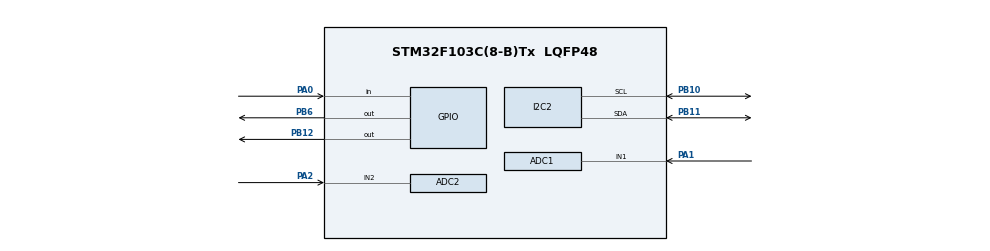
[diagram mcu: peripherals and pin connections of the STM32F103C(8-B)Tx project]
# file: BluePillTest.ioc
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ADC1.Channel-0\#ChannelRegularConversion=ADC_CHANNEL_1
ADC1.NbrOfConversionFlag=1
ADC1.Rank-0\#ChannelRegularConversion=1
ADC1.SamplingTime-0\#ChannelRegularConversion=ADC_SAMPLETIME_239CYCLES_5
ADC1.master=1
ADC2.Channel-3\#ChannelRegularConversion=ADC_CHANNEL_2
ADC2.NbrOfConversion=1
ADC2.NbrOfConversionFlag=1
ADC2.Rank-3\#ChannelRegularConversion=1
ADC2.SamplingTime-3\#ChannelRegularConversion=ADC_SAMPLETIME_239CYCLES_5
Mcu.Family=STM32F1
Mcu.Name=STM32F103C(8-B)Tx
Mcu.Package=LQFP48
NVIC.PriorityGroup=NVIC_PRIORITYGROUP_4
PA0-WKUP.GPIO_PuPd=GPIO_PULLUP
PA0-WKUP.Signal=GPIO_Input
PA1.Signal=ADCx_IN1
PA2.Signal=ADCx_IN2
PB10.Mode=I2C
PB10.Signal=I2C2_SCL
PB11.Mode=I2C
PB11.Signal=I2C2_SDA
PB12.GPIO_ModeDefaultOutputPP=GPIO_MODE_OUTPUT_OD
PB12.GPIO_PuPd=GPIO_NOPULL
PB12.GPIO_Speed=GPIO_SPEED_FREQ_HIGH
PB12.PinState=GPIO_PIN_SET
PB12.Signal=GPIO_Output
PB6.Signal=GPIO_Output
ProjectManager.HeapSize=0x200
ProjectManager.StackSize=0x400
ProjectManager.TargetToolchain=STM32CubeIDE
RCC.APB1Freq_Value=8000000
RCC.APB2Freq_Value=8000000
SH.ADCx_IN1.0=ADC1_IN1,IN1
SH.ADCx_IN2.0=ADC2_IN2,IN2
VP_SYS_VS_ND.Mode=No_Debug
board=custom

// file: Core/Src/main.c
/* USER CODE BEGIN Header */
/**
  ******************************************************************************
  * @file           : main.c
  * @brief          : Main program body
  ******************************************************************************
  * @attention
  *
  * Copyright (c) 2026 STMicroelectronics.
  * All rights reserved.
  *
  * This software is licensed under terms that can be found in the LICENSE file
  * in the root directory of this software component.
  * If no LICENSE file comes with this software, it is provided AS-IS.
  *
  ******************************************************************************
  */
/* USER CODE END Header */
#include "main.h"

/* USER CODE BEGIN Includes */
#include "lcd_i2c.h"
#include <stdio.h>
#include <stdlib.h>
/* USER CODE END Includes */

/* USER CODE BEGIN PD */
#define DS18B20_PIN  GPIO_PIN_12
#define DS18B20_PORT GPIOB
/* USER CODE END PD */

ADC_HandleTypeDef hadc1;
ADC_HandleTypeDef hadc2;

I2C_HandleTypeDef hi2c2;

void SystemClock_Config(void);
static void MX_GPIO_Init(void);
static void MX_I2C2_Init(void);
static void MX_ADC1_Init(void);
static void MX_ADC2_Init(void);
/* USER CODE BEGIN PFP */
void delay_us(uint16_t us);
/* USER CODE END PFP */

/* USER CODE BEGIN 0 */
float adc2_voltage = 0;
float input_voltage = 0;
uint8_t temp_conversion_pending = 0;
uint32_t temp_start_tick = 0;
GPIO_PinState lastButtonState = GPIO_PIN_SET;
GPIO_PinState currentButtonState;

uint32_t lastTempTick = 0;
float temperature = 0;
static void DS18B20_ForceLow(void);
static void DS18B20_ReleaseBus(void);

static inline uint8_t DS18B20_ReadPin(void)
{
    return HAL_GPIO_ReadPin(GPIOB, GPIO_PIN_12);
}

static void DS18B20_WriteBit(uint8_t bit)
{
    __disable_irq(); // Prevent SysTick from interrupting timing
    DS18B20_ForceLow();

    if (bit)
    {
        delay_us(6);
        DS18B20_ReleaseBus();
        delay_us(64);
    }
    else
    {
        delay_us(60);
        DS18B20_ReleaseBus();
        delay_us(10);
    }
    __enable_irq(); // Re-enable interrupts immediately after
}

static uint8_t DS18B20_ReadBit(void)
{
    uint8_t bit;

    __disable_irq(); // Lock the timing window
    DS18B20_ForceLow();
    delay_us(3);

    DS18B20_ReleaseBus();
    delay_us(10); // The sensor holds the data here

    bit = HAL_GPIO_ReadPin(GPIOB, GPIO_PIN_12);
    __enable_irq(); // Release the lock

    delay_us(50);
    return bit;
}

static uint8_t DS18B20_Reset(void)
{
    DS18B20_ForceLow();
    delay_us(480);

    DS18B20_ReleaseBus();
    delay_us(80);

    uint8_t presence = HAL_GPIO_ReadPin(GPIOB, GPIO_PIN_12);

    delay_us(400);

    return (presence == GPIO_PIN_RESET) ? 0 : 1; // 0 = OK, 1 = FAIL
}

static void DS18B20_WriteByte(uint8_t data)
{
    for (int i = 0; i < 8; i++)
    {
        DS18B20_WriteBit(data & (1 << i));
    }
}

static uint8_t DS18B20_ReadByte(void)
{
    uint8_t value = 0;
    for (int i = 0; i < 8; i++)
    {
        if (DS18B20_ReadBit())
            value |= (1 << i);
    }
    return value;
}

static inline void DS18B20_ForceLow(void)
{
    GPIOB->ODR &= ~GPIO_PIN_12; // fast low
}

static inline void DS18B20_ReleaseBus(void)
{
    GPIOB->ODR |= GPIO_PIN_12;  // release (open drain HIGH)
}

void lcd_safe_update(const char *l1, const char *l2)
{
    lcd_set_cursor(0, 0);
    lcd_send_string(l1);
    lcd_send_string("                "); // overwrite leftovers

    lcd_set_cursor(1, 0);
    lcd_send_string(l2);
    lcd_send_string("                ");
}
/* USER CODE END 0 */

int main(void)
{

  /* MCU Configuration--------------------------------------------------------*/

  /* Reset of all peripherals, Initializes the Flash interface and the Systick. */
  HAL_Init();

  /* Configure the system clock */
  SystemClock_Config();

  /* Initialize all configured peripherals */
  MX_GPIO_Init();
  MX_I2C2_Init();
  MX_ADC1_Init();
  MX_ADC2_Init();
  /* USER CODE BEGIN 2 */
  // Enable DWT cycle counter for microsecond delay
  CoreDebug->DEMCR |= CoreDebug_DEMCR_TRCENA_Msk;
  DWT->CYCCNT = 0;
  DWT->CTRL |= DWT_CTRL_CYCCNTENA_Msk;

  HAL_Delay(200);
  lcd_init();
  lcd_clear();

  lcd_set_cursor(0,0);
  lcd_send_string("Hello!");

  lcd_set_cursor(1,0);
  lcd_send_string("STM32 Ready");
  /* USER CODE END 2 */

  /* Infinite loop */
  /* USER CODE BEGIN WHILE */
  while (1)
    {
        // --- Button (robust debounce + edge detect) ---
        static GPIO_PinState stableState = GPIO_PIN_SET;
        static GPIO_PinState lastStableState = GPIO_PIN_SET;
        static uint32_t lastChangeTime = 0;
        GPIO_PinState reading = HAL_GPIO_ReadPin(GPIOA, GPIO_PIN_0);
        if (reading != stableState) { lastChangeTime = HAL_GetTick(); stableState = reading; }
        if ((HAL_GetTick() - lastChangeTime) > 5)
        {
            if (stableState != lastStableState)
            {
                lastStableState = stableState;
                if (stableState == GPIO_PIN_RESET) HAL_GPIO_TogglePin(GPIOB, GPIO_PIN_6);
            }
        }

        // --- ADC1 read (Current/Amps - Noise Rejection Filter) ---
        #define SAMPLES_TO_SORT 15
        uint32_t adc_samples[SAMPLES_TO_SORT];

        // 1. Capture a burst of samples as fast as possible
        for (int i = 0; i < SAMPLES_TO_SORT; i++)
        {
            HAL_ADC_Start(&hadc1);
            HAL_ADC_PollForConversion(&hadc1, 1);
            adc_samples[i] = HAL_ADC_GetValue(&hadc1);
            HAL_ADC_Stop(&hadc1);
        }

        // 2. Simple Bubble Sort to find the median
        for (int i = 0; i < SAMPLES_TO_SORT - 1; i++) {
            for (int j = 0; j < SAMPLES_TO_SORT - i - 1; j++) {
                if (adc_samples[j] > adc_samples[j + 1]) {
                    uint32_t temp = adc_samples[j];
                    adc_samples[j] = adc_samples[j + 1];
                    adc_samples[j + 1] = temp;
                }
            }
        }

        // 3. Throw away the top 4 and bottom 4 samples (the SMPS spikes)
        // Average only the middle 7 samples
        uint32_t middle_sum = 0;
        for (int i = 4; i < 11; i++) {
            middle_sum += adc_samples[i];
        }
        float filtered_adc = middle_sum / 7.0f;

        // 4. Convert to Amps (10x scale)
        float display_amps = (filtered_adc * 3.3f / 4095.0f) * 10.0f;

        // --- ADC2 read (Voltage - Standard Average) ---
        uint32_t sum2 = 0;
        for (int i = 0; i < 16; i++)
        {
            HAL_ADC_Start(&hadc2);
            HAL_ADC_PollForConversion(&hadc2, 1);
            sum2 += HAL_ADC_GetValue(&hadc2);
            HAL_ADC_Stop(&hadc2);
        }
        input_voltage = (sum2 / 16.0f * 3.3f / 4095.0f) * 11.09f;

        // --- Temperature update ---
        if (!temp_conversion_pending)
        {
            if (HAL_GetTick() - lastTempTick >= 1000)
            {
                if (DS18B20_Reset() == 0)
                {
                    DS18B20_WriteByte(0xCC);
                    DS18B20_WriteByte(0x44);
                    temp_conversion_pending = 1;
                    temp_start_tick = HAL_GetTick();
                }
            }
        }
        else if (HAL_GetTick() - temp_start_tick >= 800)
        {
            if (DS18B20_Reset() == 0)
            {
                DS18B20_WriteByte(0xCC);
                DS18B20_WriteByte(0xBE);
                uint8_t temp_l = DS18B20_ReadByte();
                uint8_t temp_h = DS18B20_ReadByte();
                int16_t raw_temp = (temp_h << 8) | temp_l;
                float actual_temp = (float)raw_temp / 16.0f;
                if (actual_temp > -60.0f && actual_temp < 130.0f) temperature = actual_temp;
            }
            temp_conversion_pending = 0;
            lastTempTick = HAL_GetTick();
        }

        // --- Format LCD text ---
        char line1[17], line2[17];
        snprintf(line1, sizeof(line1), "%.2f A %.1f V", display_amps, input_voltage);
        if (temperature < -500) snprintf(line2, sizeof(line2), "T: SENSOR ERROR");
        else snprintf(line2, sizeof(line2), "%.2f C", temperature);

        // --- LCD update every 250ms ---
        static uint32_t lastLcd = 0;
        if (HAL_GetTick() - lastLcd >= 250)
        {
            lcd_safe_update(line1, line2);
            lastLcd = HAL_GetTick();
        }
    }
    /* USER CODE END WHILE */

}

void SystemClock_Config(void)
{
  RCC_OscInitTypeDef RCC_OscInitStruct = {0};
  RCC_ClkInitTypeDef RCC_ClkInitStruct = {0};
  RCC_PeriphCLKInitTypeDef PeriphClkInit = {0};

  /** Initializes the RCC Oscillators according to the specified parameters
  * in the RCC_OscInitTypeDef structure.
  */
  RCC_OscInitStruct.OscillatorType = RCC_OSCILLATORTYPE_HSI;
  RCC_OscInitStruct.HSIState = RCC_HSI_ON;
  RCC_OscInitStruct.HSICalibrationValue = RCC_HSICALIBRATION_DEFAULT;
  RCC_OscInitStruct.PLL.PLLState = RCC_PLL_NONE;
  if (HAL_RCC_OscConfig(&RCC_OscInitStruct) != HAL_OK)
  {
    Error_Handler();
  }

  /** Initializes the CPU, AHB and APB buses clocks
  */
  RCC_ClkInitStruct.ClockType = RCC_CLOCKTYPE_HCLK|RCC_CLOCKTYPE_SYSCLK
                              |RCC_CLOCKTYPE_PCLK1|RCC_CLOCKTYPE_PCLK2;
  RCC_ClkInitStruct.SYSCLKSource = RCC_SYSCLKSOURCE_HSI;
  RCC_ClkInitStruct.AHBCLKDivider = RCC_SYSCLK_DIV1;
  RCC_ClkInitStruct.APB1CLKDivider = RCC_HCLK_DIV1;
  RCC_ClkInitStruct.APB2CLKDivider = RCC_HCLK_DIV1;

  if (HAL_RCC_ClockConfig(&RCC_ClkInitStruct, FLASH_LATENCY_0) != HAL_OK)
  {
    Error_Handler();
  }
  PeriphClkInit.PeriphClockSelection = RCC_PERIPHCLK_ADC;
  PeriphClkInit.AdcClockSelection = RCC_ADCPCLK2_DIV2;
  if (HAL_RCCEx_PeriphCLKConfig(&PeriphClkInit) != HAL_OK)
  {
    Error_Handler();
  }
}

static void MX_ADC1_Init(void)
{

  ADC_ChannelConfTypeDef sConfig = {0};

  /** Common config
  */
  hadc1.Instance = ADC1;
  hadc1.Init.ScanConvMode = ADC_SCAN_DISABLE;
  hadc1.Init.ContinuousConvMode = DISABLE;
  hadc1.Init.DiscontinuousConvMode = DISABLE;
  hadc1.Init.ExternalTrigConv = ADC_SOFTWARE_START;
  hadc1.Init.DataAlign = ADC_DATAALIGN_RIGHT;
  hadc1.Init.NbrOfConversion = 1;
  if (HAL_ADC_Init(&hadc1) != HAL_OK)
  {
    Error_Handler();
  }

  /** Configure Regular Channel
  */
  sConfig.Channel = ADC_CHANNEL_1;
  sConfig.Rank = ADC_REGULAR_RANK_1;
  sConfig.SamplingTime = ADC_SAMPLETIME_239CYCLES_5;
  if (HAL_ADC_ConfigChannel(&hadc1, &sConfig) != HAL_OK)
  {
    Error_Handler();
  }

}

static void MX_ADC2_Init(void)
{

  ADC_ChannelConfTypeDef sConfig = {0};

  /** Common config
  */
  hadc2.Instance = ADC2;
  hadc2.Init.ScanConvMode = ADC_SCAN_DISABLE;
  hadc2.Init.ContinuousConvMode = DISABLE;
  hadc2.Init.DiscontinuousConvMode = DISABLE;
  hadc2.Init.ExternalTrigConv = ADC_SOFTWARE_START;
  hadc2.Init.DataAlign = ADC_DATAALIGN_RIGHT;
  hadc2.Init.NbrOfConversion = 1;
  if (HAL_ADC_Init(&hadc2) != HAL_OK)
  {
    Error_Handler();
  }

  /** Configure Regular Channel
  */
  sConfig.Channel = ADC_CHANNEL_2;
  sConfig.Rank = ADC_REGULAR_RANK_1;
  sConfig.SamplingTime = ADC_SAMPLETIME_239CYCLES_5;
  if (HAL_ADC_ConfigChannel(&hadc2, &sConfig) != HAL_OK)
  {
    Error_Handler();
  }

}

static void MX_I2C2_Init(void)
{

  hi2c2.Instance = I2C2;
  hi2c2.Init.ClockSpeed = 100000;
  hi2c2.Init.DutyCycle = I2C_DUTYCYCLE_2;
  hi2c2.Init.OwnAddress1 = 0;
  hi2c2.Init.AddressingMode = I2C_ADDRESSINGMODE_7BIT;
  hi2c2.Init.DualAddressMode = I2C_DUALADDRESS_DISABLE;
  hi2c2.Init.OwnAddress2 = 0;
  hi2c2.Init.GeneralCallMode = I2C_GENERALCALL_DISABLE;
  hi2c2.Init.NoStretchMode = I2C_NOSTRETCH_DISABLE;
  if (HAL_I2C_Init(&hi2c2) != HAL_OK)
  {
    Error_Handler();
  }

}

static void MX_GPIO_Init(void)
{
  GPIO_InitTypeDef GPIO_InitStruct = {0};

  /* GPIO Ports Clock Enable */
  __HAL_RCC_GPIOA_CLK_ENABLE();
  __HAL_RCC_GPIOB_CLK_ENABLE();

  /*Configure GPIO pin Output Level */
  HAL_GPIO_WritePin(GPIOB, GPIO_PIN_12, GPIO_PIN_SET);

  /*Configure GPIO pin Output Level */
  HAL_GPIO_WritePin(GPIOB, GPIO_PIN_6, GPIO_PIN_RESET);

  /*Configure GPIO pin : PA0 */
  GPIO_InitStruct.Pin = GPIO_PIN_0;
  GPIO_InitStruct.Mode = GPIO_MODE_INPUT;
  GPIO_InitStruct.Pull = GPIO_PULLUP;
  HAL_GPIO_Init(GPIOA, &GPIO_InitStruct);

  /*Configure GPIO pin : PB12 */
  GPIO_InitStruct.Pin = GPIO_PIN_12;
  GPIO_InitStruct.Mode = GPIO_MODE_OUTPUT_OD;
  GPIO_InitStruct.Pull = GPIO_NOPULL;
  GPIO_InitStruct.Speed = GPIO_SPEED_FREQ_LOW;
  HAL_GPIO_Init(GPIOB, &GPIO_InitStruct);

  /*Configure GPIO pin : PB6 */
  GPIO_InitStruct.Pin = GPIO_PIN_6;
  GPIO_InitStruct.Mode = GPIO_MODE_OUTPUT_PP;
  GPIO_InitStruct.Pull = GPIO_NOPULL;
  GPIO_InitStruct.Speed = GPIO_SPEED_FREQ_LOW;
  HAL_GPIO_Init(GPIOB, &GPIO_InitStruct);

}

/* USER CODE BEGIN 4 */
void delay_us(uint16_t us)
{
    uint32_t start = DWT->CYCCNT;
    uint32_t ticks = us * (HAL_RCC_GetHCLKFreq() / 1000000);
    while ((DWT->CYCCNT - start) < ticks);
}

/* USER CODE END 4 */

void Error_Handler(void)
{
  __disable_irq();
  while (1)
  {
  }
}
